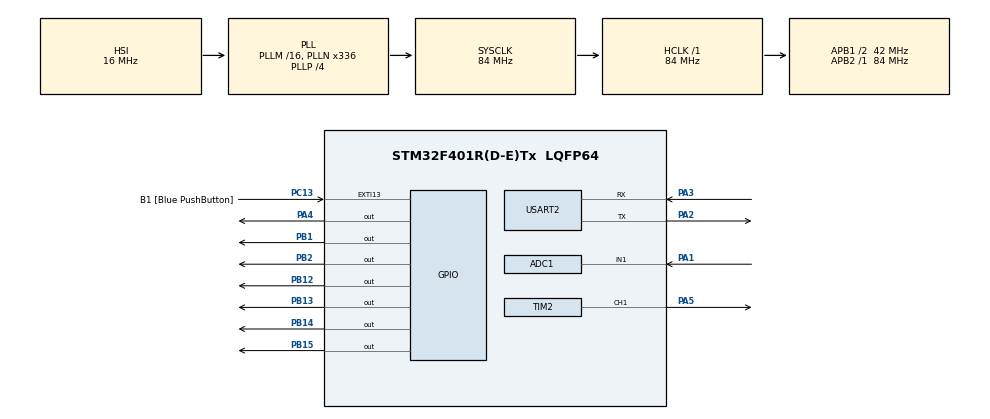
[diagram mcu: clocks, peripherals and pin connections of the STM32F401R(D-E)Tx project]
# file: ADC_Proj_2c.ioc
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ADC1.Channel-0\#ChannelRegularConversion=ADC_CHANNEL_1
ADC1.ExternalTrigConv=ADC_EXTERNALTRIGCONV_T3_TRGO
ADC1.NbrOfConversionFlag=1
ADC1.Rank-0\#ChannelRegularConversion=1
ADC1.SamplingTime-0\#ChannelRegularConversion=ADC_SAMPLETIME_480CYCLES
ADC1.master=1
Mcu.Family=STM32F4
Mcu.Name=STM32F401R(D-E)Tx
Mcu.Package=LQFP64
NVIC.ADC_IRQn=true\:0\:0\:false\:false\:true\:true\:true\:true
NVIC.PriorityGroup=NVIC_PRIORITYGROUP_0
PA1.Signal=ADCx_IN1
PA13.GPIO_Label=TMS
PA13.Mode=Serial_Wire
PA13.Signal=SYS_JTMS-SWDIO
PA14.GPIO_Label=TCK
PA14.Mode=Serial_Wire
PA14.Signal=SYS_JTCK-SWCLK
PA2.GPIO_Mode=GPIO_MODE_AF_PP
PA2.GPIO_ModeDefaultPP=GPIO_MODE_AF_PP
PA2.GPIO_PuPd=GPIO_NOPULL
PA2.GPIO_Speed=GPIO_SPEED_FREQ_VERY_HIGH
PA2.Mode=Asynchronous
PA2.Signal=USART2_TX
PA3.GPIO_Mode=GPIO_MODE_AF_PP
PA3.GPIO_ModeDefaultPP=GPIO_MODE_AF_PP
PA3.GPIO_PuPd=GPIO_NOPULL
PA3.GPIO_Speed=GPIO_SPEED_FREQ_VERY_HIGH
PA3.Mode=Asynchronous
PA3.Signal=USART2_RX
PA4.Signal=GPIO_Output
PA5.Signal=S_TIM2_CH1_ETR
PB1.Signal=GPIO_Output
PB12.Signal=GPIO_Output
PB13.Signal=GPIO_Output
PB14.Signal=GPIO_Output
PB15.Signal=GPIO_Output
PB2.Signal=GPIO_Output
PB3.GPIO_Label=SWO
PB3.Signal=SYS_JTDO-SWO
PC13-ANTI_TAMP.GPIO_Label=B1 [Blue PushButton]
PC13-ANTI_TAMP.GPIO_ModeDefaultEXTI=GPIO_MODE_IT_FALLING
PC13-ANTI_TAMP.GPIO_PuPd=GPIO_NOPULL
PC13-ANTI_TAMP.Signal=GPXTI13
PC14-OSC32_IN.Mode=LSE-External-Oscillator
PC14-OSC32_IN.Signal=RCC_OSC32_IN
PC15-OSC32_OUT.Mode=LSE-External-Oscillator
PC15-OSC32_OUT.Signal=RCC_OSC32_OUT
PH0\ -\ OSC_IN.Mode=HSE-External-Clock-Source
PH0\ -\ OSC_IN.Signal=RCC_OSC_IN
PH1\ -\ OSC_OUT.Mode=HSE-External-Clock-Source
PH1\ -\ OSC_OUT.Signal=RCC_OSC_OUT
ProjectManager.HeapSize=0x200
ProjectManager.StackSize=0x400
ProjectManager.TargetToolchain=STM32CubeIDE
RCC.48MHZClocksFreq_Value=48000000
RCC.AHBFreq_Value=84000000
RCC.APB1CLKDivider=RCC_HCLK_DIV2
RCC.APB1Freq_Value=42000000
RCC.APB1TimFreq_Value=84000000
RCC.APB2Freq_Value=84000000
RCC.APB2TimFreq_Value=84000000
RCC.CortexFreq_Value=84000000
RCC.HCLKFreq_Value=84000000
RCC.HSE_VALUE=8000000
RCC.HSI_VALUE=16000000
RCC.PLLN=336
RCC.PLLP=RCC_PLLP_DIV4
RCC.PLLQ=7
RCC.SYSCLKFreq_VALUE=84000000
RCC.SYSCLKSource=RCC_SYSCLKSOURCE_PLLCLK
RCC.VCOOutputFreq_Value=336000000
SH.ADCx_IN1.0=ADC1_IN1,IN1
SH.S_TIM2_CH1_ETR.0=TIM2_CH1,PWM Generation1 CH1
TIM2.AutoReloadPreload=TIM_AUTORELOAD_PRELOAD_DISABLE
TIM2.Channel-PWM\ Generation1\ CH1=TIM_CHANNEL_1
TIM2.Period=100-1
TIM2.Prescaler=8400-1
TIM2.Pulse-PWM\ Generation1\ CH1=80
TIM2.TIM_MasterOutputTrigger=TIM_TRGO_UPDATE
TIM3.Period=5000-1
TIM3.Prescaler=8400-1
TIM3.TIM_MasterOutputTrigger=TIM_TRGO_UPDATE
USART2.VirtualMode=VM_ASYNC
VP_TIM2_VS_ClockSourceINT.Mode=Internal
VP_TIM3_VS_ClockSourceINT.Mode=Internal
board=NUCLEO-F401RE

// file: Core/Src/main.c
/* USER CODE BEGIN Header */
/**
 ******************************************************************************
 * @file           : main.c
 * @brief          : Main program body
 ******************************************************************************
 * @attention
 *
 * Copyright (c) 2023 STMicroelectronics.
 * All rights reserved.
 *
 * This software is licensed under terms that can be found in the LICENSE file
 * in the root directory of this software component.
 * If no LICENSE file comes with this software, it is provided AS-IS.
 *
 ******************************************************************************
 */
/* USER CODE END Header */
#include "main.h"

/* USER CODE BEGIN Includes */
#include "PMDB16_LCD.h"
#include <stdio.h>
/* USER CODE END Includes */

ADC_HandleTypeDef hadc1;

TIM_HandleTypeDef htim2;
TIM_HandleTypeDef htim3;

UART_HandleTypeDef huart2;

void SystemClock_Config(void);
static void MX_GPIO_Init(void);
static void MX_USART2_UART_Init(void);
static void MX_ADC1_Init(void);
static void MX_TIM2_Init(void);
static void MX_TIM3_Init(void);

int main(void)
{

  /* MCU Configuration--------------------------------------------------------*/

  /* Reset of all peripherals, Initializes the Flash interface and the Systick. */
  HAL_Init();

  /* Configure the system clock */
  SystemClock_Config();

  /* Initialize all configured peripherals */
  MX_GPIO_Init();
  MX_USART2_UART_Init();
  MX_ADC1_Init();
  MX_TIM2_Init();
  MX_TIM3_Init();
  /* USER CODE BEGIN 2 */

	lcd_initialize();
	HAL_ADC_Start_IT(&hadc1);
	HAL_TIM_Base_Start_IT(&htim3);

	// Start the PWM
	HAL_TIM_PWM_Start(&htim2, TIM_CHANNEL_1);

  /* USER CODE END 2 */

  /* Infinite loop */
	while (1) {

	}
}

void SystemClock_Config(void)
{
  RCC_OscInitTypeDef RCC_OscInitStruct = {0};
  RCC_ClkInitTypeDef RCC_ClkInitStruct = {0};

  /** Configure the main internal regulator output voltage
  */
  __HAL_RCC_PWR_CLK_ENABLE();
  __HAL_PWR_VOLTAGESCALING_CONFIG(PWR_REGULATOR_VOLTAGE_SCALE2);

  /** Initializes the RCC Oscillators according to the specified parameters
  * in the RCC_OscInitTypeDef structure.
  */
  RCC_OscInitStruct.OscillatorType = RCC_OSCILLATORTYPE_HSI;
  RCC_OscInitStruct.HSIState = RCC_HSI_ON;
  RCC_OscInitStruct.HSICalibrationValue = RCC_HSICALIBRATION_DEFAULT;
  RCC_OscInitStruct.PLL.PLLState = RCC_PLL_ON;
  RCC_OscInitStruct.PLL.PLLSource = RCC_PLLSOURCE_HSI;
  RCC_OscInitStruct.PLL.PLLM = 16;
  RCC_OscInitStruct.PLL.PLLN = 336;
  RCC_OscInitStruct.PLL.PLLP = RCC_PLLP_DIV4;
  RCC_OscInitStruct.PLL.PLLQ = 7;
  if (HAL_RCC_OscConfig(&RCC_OscInitStruct) != HAL_OK)
  {
    Error_Handler();
  }

  /** Initializes the CPU, AHB and APB buses clocks
  */
  RCC_ClkInitStruct.ClockType = RCC_CLOCKTYPE_HCLK|RCC_CLOCKTYPE_SYSCLK
                              |RCC_CLOCKTYPE_PCLK1|RCC_CLOCKTYPE_PCLK2;
  RCC_ClkInitStruct.SYSCLKSource = RCC_SYSCLKSOURCE_PLLCLK;
  RCC_ClkInitStruct.AHBCLKDivider = RCC_SYSCLK_DIV1;
  RCC_ClkInitStruct.APB1CLKDivider = RCC_HCLK_DIV2;
  RCC_ClkInitStruct.APB2CLKDivider = RCC_HCLK_DIV1;

  if (HAL_RCC_ClockConfig(&RCC_ClkInitStruct, FLASH_LATENCY_2) != HAL_OK)
  {
    Error_Handler();
  }
}

static void MX_ADC1_Init(void)
{

  ADC_ChannelConfTypeDef sConfig = {0};

  /** Configure the global features of the ADC (Clock, Resolution, Data Alignment and number of conversion)
  */
  hadc1.Instance = ADC1;
  hadc1.Init.ClockPrescaler = ADC_CLOCK_SYNC_PCLK_DIV4;
  hadc1.Init.Resolution = ADC_RESOLUTION_12B;
  hadc1.Init.ScanConvMode = DISABLE;
  hadc1.Init.ContinuousConvMode = DISABLE;
  hadc1.Init.DiscontinuousConvMode = DISABLE;
  hadc1.Init.ExternalTrigConvEdge = ADC_EXTERNALTRIGCONVEDGE_RISING;
  hadc1.Init.ExternalTrigConv = ADC_EXTERNALTRIGCONV_T3_TRGO;
  hadc1.Init.DataAlign = ADC_DATAALIGN_RIGHT;
  hadc1.Init.NbrOfConversion = 1;
  hadc1.Init.DMAContinuousRequests = DISABLE;
  hadc1.Init.EOCSelection = ADC_EOC_SINGLE_CONV;
  if (HAL_ADC_Init(&hadc1) != HAL_OK)
  {
    Error_Handler();
  }

  /** Configure for the selected ADC regular channel its corresponding rank in the sequencer and its sample time.
  */
  sConfig.Channel = ADC_CHANNEL_1;
  sConfig.Rank = 1;
  sConfig.SamplingTime = ADC_SAMPLETIME_480CYCLES;
  if (HAL_ADC_ConfigChannel(&hadc1, &sConfig) != HAL_OK)
  {
    Error_Handler();
  }

}

static void MX_TIM2_Init(void)
{

  TIM_ClockConfigTypeDef sClockSourceConfig = {0};
  TIM_MasterConfigTypeDef sMasterConfig = {0};
  TIM_OC_InitTypeDef sConfigOC = {0};

  htim2.Instance = TIM2;
  htim2.Init.Prescaler = 8400-1;
  htim2.Init.CounterMode = TIM_COUNTERMODE_UP;
  htim2.Init.Period = 100-1;
  htim2.Init.ClockDivision = TIM_CLOCKDIVISION_DIV1;
  htim2.Init.AutoReloadPreload = TIM_AUTORELOAD_PRELOAD_DISABLE;
  if (HAL_TIM_Base_Init(&htim2) != HAL_OK)
  {
    Error_Handler();
  }
  sClockSourceConfig.ClockSource = TIM_CLOCKSOURCE_INTERNAL;
  if (HAL_TIM_ConfigClockSource(&htim2, &sClockSourceConfig) != HAL_OK)
  {
    Error_Handler();
  }
  if (HAL_TIM_PWM_Init(&htim2) != HAL_OK)
  {
    Error_Handler();
  }
  sMasterConfig.MasterOutputTrigger = TIM_TRGO_UPDATE;
  sMasterConfig.MasterSlaveMode = TIM_MASTERSLAVEMODE_DISABLE;
  if (HAL_TIMEx_MasterConfigSynchronization(&htim2, &sMasterConfig) != HAL_OK)
  {
    Error_Handler();
  }
  sConfigOC.OCMode = TIM_OCMODE_PWM1;
  sConfigOC.Pulse = 80;
  sConfigOC.OCPolarity = TIM_OCPOLARITY_HIGH;
  sConfigOC.OCFastMode = TIM_OCFAST_DISABLE;
  if (HAL_TIM_PWM_ConfigChannel(&htim2, &sConfigOC, TIM_CHANNEL_1) != HAL_OK)
  {
    Error_Handler();
  }
  HAL_TIM_MspPostInit(&htim2);

}

static void MX_TIM3_Init(void)
{

  TIM_ClockConfigTypeDef sClockSourceConfig = {0};
  TIM_MasterConfigTypeDef sMasterConfig = {0};

  htim3.Instance = TIM3;
  htim3.Init.Prescaler = 8400-1;
  htim3.Init.CounterMode = TIM_COUNTERMODE_UP;
  htim3.Init.Period = 5000-1;
  htim3.Init.ClockDivision = TIM_CLOCKDIVISION_DIV1;
  htim3.Init.AutoReloadPreload = TIM_AUTORELOAD_PRELOAD_DISABLE;
  if (HAL_TIM_Base_Init(&htim3) != HAL_OK)
  {
    Error_Handler();
  }
  sClockSourceConfig.ClockSource = TIM_CLOCKSOURCE_INTERNAL;
  if (HAL_TIM_ConfigClockSource(&htim3, &sClockSourceConfig) != HAL_OK)
  {
    Error_Handler();
  }
  sMasterConfig.MasterOutputTrigger = TIM_TRGO_UPDATE;
  sMasterConfig.MasterSlaveMode = TIM_MASTERSLAVEMODE_DISABLE;
  if (HAL_TIMEx_MasterConfigSynchronization(&htim3, &sMasterConfig) != HAL_OK)
  {
    Error_Handler();
  }

}

static void MX_USART2_UART_Init(void)
{

  huart2.Instance = USART2;
  huart2.Init.BaudRate = 115200;
  huart2.Init.WordLength = UART_WORDLENGTH_8B;
  huart2.Init.StopBits = UART_STOPBITS_1;
  huart2.Init.Parity = UART_PARITY_NONE;
  huart2.Init.Mode = UART_MODE_TX_RX;
  huart2.Init.HwFlowCtl = UART_HWCONTROL_NONE;
  huart2.Init.OverSampling = UART_OVERSAMPLING_16;
  if (HAL_UART_Init(&huart2) != HAL_OK)
  {
    Error_Handler();
  }

}

static void MX_GPIO_Init(void)
{
  GPIO_InitTypeDef GPIO_InitStruct = {0};

  /* GPIO Ports Clock Enable */
  __HAL_RCC_GPIOC_CLK_ENABLE();
  __HAL_RCC_GPIOH_CLK_ENABLE();
  __HAL_RCC_GPIOA_CLK_ENABLE();
  __HAL_RCC_GPIOB_CLK_ENABLE();

  /*Configure GPIO pin Output Level */
  HAL_GPIO_WritePin(GPIOA, GPIO_PIN_4, GPIO_PIN_RESET);

  /*Configure GPIO pin Output Level */
  HAL_GPIO_WritePin(GPIOB, GPIO_PIN_1|GPIO_PIN_2|GPIO_PIN_12|GPIO_PIN_13
                          |GPIO_PIN_14|GPIO_PIN_15, GPIO_PIN_RESET);

  /*Configure GPIO pin : B1_Pin */
  GPIO_InitStruct.Pin = B1_Pin;
  GPIO_InitStruct.Mode = GPIO_MODE_IT_FALLING;
  GPIO_InitStruct.Pull = GPIO_NOPULL;
  HAL_GPIO_Init(B1_GPIO_Port, &GPIO_InitStruct);

  /*Configure GPIO pin : PA4 */
  GPIO_InitStruct.Pin = GPIO_PIN_4;
  GPIO_InitStruct.Mode = GPIO_MODE_OUTPUT_PP;
  GPIO_InitStruct.Pull = GPIO_NOPULL;
  GPIO_InitStruct.Speed = GPIO_SPEED_FREQ_LOW;
  HAL_GPIO_Init(GPIOA, &GPIO_InitStruct);

  /*Configure GPIO pins : PB1 PB2 PB12 PB13
                           PB14 PB15 */
  GPIO_InitStruct.Pin = GPIO_PIN_1|GPIO_PIN_2|GPIO_PIN_12|GPIO_PIN_13
                          |GPIO_PIN_14|GPIO_PIN_15;
  GPIO_InitStruct.Mode = GPIO_MODE_OUTPUT_PP;
  GPIO_InitStruct.Pull = GPIO_NOPULL;
  GPIO_InitStruct.Speed = GPIO_SPEED_FREQ_LOW;
  HAL_GPIO_Init(GPIOB, &GPIO_InitStruct);

}

/* USER CODE BEGIN 4 */
void HAL_ADC_ConvCpltCallback(ADC_HandleTypeDef *hadc) {
	int conversion = HAL_ADC_GetValue(&hadc1);
	float voltage = conversion * 3.3 / 4096.0;
	char string[34];
	sprintf(string, "Voltage %.3f", voltage);
	lcd_println(string, 0);
	int bar_length = (int) (80 / 3.3 * voltage);
	lcd_drawBar(bar_length);

	// Update the PWM duty cycle w.r.t. the voltage
	TIM2->CCR1 = voltage / 3.3 * 100;
}
/* USER CODE END 4 */

void Error_Handler(void)
{
	__disable_irq();
	while (1) {
	}
}
